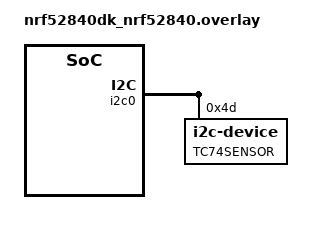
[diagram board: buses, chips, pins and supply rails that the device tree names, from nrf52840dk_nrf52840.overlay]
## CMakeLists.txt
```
cmake_minimum_required(VERSION 3.20.0)
find_package(Zephyr REQUIRED HINTS $ENV{ZEPHYR_BASE})


project(projeto2)

set(RTDB_FILES src/include/rtdb.h src/rtdb.c)
set(FIFO_FILES src/include/fifo.h src/fifo.c)
set(UART_FILES src/include/uart.h src/uart.c)
set(PROTOCOL_FILES src/include/protocol.h src/protocol.c)
# set(I2C_FILES src/include/i2c.h src/i2c.c)

target_sources(app PRIVATE src/main.c ${RTDB_FILES} ${FIFO_FILES} ${UART_FILES} ${PROTOCOL_FILES})
```

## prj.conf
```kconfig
CONFIG_GPIO=y
CONFIG_SERIAL=y
CONFIG_UART_CONSOLE=y
CONFIG_PRINTK=y
CONFIG_UART_ASYNC_API=y
CONFIG_I2C=y
CONFIG_HEAP_MEM_POOL_SIZE=1024
```

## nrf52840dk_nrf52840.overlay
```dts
// To get started, press Ctrl+Space to bring up the completion menu and view the available nodes.

// You can also use the buttons in the sidebar to perform actions on nodes.
// Actions currently available include:

// * Enabling / disabling the node
// * Adding the bus to a bus
// * Removing the node
// * Connecting ADC channels

// For more help, browse the DeviceTree documentation at https://docs.zephyrproject.org/latest/guides/dts/index.html
// You can also visit the nRF DeviceTree extension documentation at https://nrfconnect.github.io/vscode-nrf-connect/devicetree/nrfdevicetree.html
&i2c0 {
    tc74sensor: tc74sensor@4D{
        compatible = "i2c-device";
        reg = <  0x4D >;
        label = "TC74SENSOR";
        status = "okay";
    };
};
```

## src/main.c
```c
#include <zephyr/device.h>
#include <zephyr/devicetree.h>
#include <zephyr/drivers/gpio.h>
#include <zephyr/drivers/i2c.h> /* Required for  I2C */
#include <zephyr/kernel.h>
#include <zephyr/sys/printk.h>
#include <zephyr/sys_clock.h>

#include <zephyr/timing/timing.h>

#include "./include/fifo.h"
#include "./include/protocol.h"
#include "./include/rtdb.h"
#include "./include/uart.h"

#define STACKSIZE 1024
#define SYNC_PRIORITY 4
#define UART_PRIORITY 3
#define SAMPLING_PRIORITY 7
#define TASK1_PERIOD 1000
#define SLEEP_TIME_MS 1000
#define MAX_LEDS 4

/* Button setup */
#define SW0_NODE DT_ALIAS(sw0)
static const struct gpio_dt_spec button0 = GPIO_DT_SPEC_GET(SW0_NODE, gpios);
#define SW1_NODE DT_ALIAS(sw1)
static const struct gpio_dt_spec button1 = GPIO_DT_SPEC_GET(SW1_NODE, gpios);
#define SW2_NODE DT_ALIAS(sw2)
static const struct gpio_dt_spec button2 = GPIO_DT_SPEC_GET(SW2_NODE, gpios);
#define SW3_NODE DT_ALIAS(sw3)
static const struct gpio_dt_spec button3 = GPIO_DT_SPEC_GET(SW3_NODE, gpios);

/* LED configuration */
#define LED0_NODE DT_ALIAS(led0)
static const struct gpio_dt_spec led0 = GPIO_DT_SPEC_GET(LED0_NODE, gpios);
#define LED1_NODE DT_ALIAS(led1)
static const struct gpio_dt_spec led1 = GPIO_DT_SPEC_GET(LED1_NODE, gpios);
#define LED2_NODE DT_ALIAS(led2)
static const struct gpio_dt_spec led2 = GPIO_DT_SPEC_GET(LED2_NODE, gpios);
#define LED3_NODE DT_ALIAS(led3)
static const struct gpio_dt_spec led3 = GPIO_DT_SPEC_GET(LED3_NODE, gpios);
static const struct gpio_dt_spec leds_gpio[4] = {led0, led1, led2, led3};

#define TC74_ADDR 0x4d /* I2C slave address */

#define TC74_CMD_RTR 0x00  /* Read temperature command */
#define TC74_CMD_RWCR 0x01 /* Read/write configuration register */

/* I2C device vars and defines */
#define I2C0_NID DT_NODELABEL(tc74sensor)
static const struct i2c_dt_spec dev_i2c = I2C_DT_SPEC_GET(I2C0_NID);

// static struct k_thread_stack *Task1_stack_area;
K_THREAD_STACK_DEFINE(sync_io_thread_stack_area, STACKSIZE);
K_THREAD_STACK_DEFINE(temp_sampling_stack_area, STACKSIZE);
K_THREAD_STACK_DEFINE(process_messages_stack_area, STACKSIZE);

void callback_btn0(const struct device *dev, struct gpio_callback *cb,
                   gpio_port_pins_t pins);
void callback_btn1(const struct device *dev, struct gpio_callback *cb,
                   gpio_port_pins_t pins);
void callback_btn2(const struct device *dev, struct gpio_callback *cb,
                   gpio_port_pins_t pins);
void callback_btn3(const struct device *dev, struct gpio_callback *cb,
                   gpio_port_pins_t pins);
void sync_io_thread(void *, void *, void *);
int check_devices();
int leds_initialization();
int btns_initialization();
void read_temp_samples(void *, void *, void *);
void process_message(void *, void *, void *);

k_tid_t thds_ids[4];
struct k_thread thds[4];

int main(void) {
  int ret;

  if (check_devices() == 0) {
    printk("Devices not ready\n");
    return 1;
  }

  if (leds_initialization() != 0) {
    printk("leds not ready\n");
    return 1;
  }

  if (btns_initialization() != 0) {
    printk("bvtns not ready\n");
    return 1;
  }

  /* BUTTON 0 */
  if (gpio_pin_configure_dt(&button0, GPIO_INPUT) < 0) {
    return -1;
  }
  if (gpio_pin_interrupt_configure_dt(&button0, GPIO_INT_EDGE_TO_ACTIVE) < 0) {
    return -1;
  }
  struct gpio_callback gpio_callback_button0;
  gpio_init_callback(&gpio_callback_button0, callback_btn0, BIT(button0.pin));
  gpio_add_callback(button0.port, &gpio_callback_button0);

  /* BUTTON1 */
  if (gpio_pin_configure_dt(&button1, GPIO_INPUT) < 0) {
    return -1;
  }
  if (gpio_pin_interrupt_configure_dt(&button1, GPIO_INT_EDGE_TO_ACTIVE) < 0) {
    return -1;
  }
  struct gpio_callback gpio_callback_button1;
  gpio_init_callback(&gpio_callback_button1, callback_btn1, BIT(button1.pin));
  gpio_add_callback(button1.port, &gpio_callback_button1);

  /* BUTTON2 */
  if (gpio_pin_configure_dt(&button2, GPIO_INPUT) < 0) {
    return -1;
  }
  if (gpio_pin_interrupt_configure_dt(&button2, GPIO_INT_EDGE_TO_ACTIVE) < 0) {
    return -1;
  }
  struct gpio_callback gpio_callback_button2;
  gpio_init_callback(&gpio_callback_button2, callback_btn2, BIT(button2.pin));
  gpio_add_callback(button2.port, &gpio_callback_button2);

  /* BUTTON3 */
  if (gpio_pin_configure_dt(&button3, GPIO_INPUT) < 0) {
    return -1;
  }
  if (gpio_pin_interrupt_configure_dt(&button3, GPIO_INT_EDGE_TO_ACTIVE) < 0) {
    return -1;
  }
  struct gpio_callback gpio_callback_button3;
  gpio_init_callback(&gpio_callback_button3, callback_btn3, BIT(button3.pin));
  gpio_add_callback(button3.port, &gpio_callback_button3);

  if (!device_is_ready(dev_i2c.bus)) {
    printk("I2C bus %s is not ready!\n\r", dev_i2c.bus->name);
  } else {
    printk("I2C bus %s, device address %x ready\n\r", dev_i2c.bus->name,
           dev_i2c.addr);
  }
  /* Write (command RTR) to set the read address to temperature */
  /* Only necessary if a config done before (not the case), but let's stay in
   * the safe side */
  ret = i2c_write_dt(&dev_i2c, TC74_CMD_RTR, 1);
  if (ret != 0) {
    printk("Failed to write to I2C device at address %x, register %x \n\r",
           dev_i2c.addr, TC74_CMD_RTR);
  }
  uart_initialization();

  timing_init();
  timing_start();

  /* Create threads */
  thds_ids[0] = k_thread_create(
      &thds[0], sync_io_thread_stack_area,
      K_THREAD_STACK_SIZEOF(sync_io_thread_stack_area),
      sync_io_thread,   /* Pointer to code, i.e. the function name */
      NULL, NULL, NULL, /* Three optional arguments */
      SYNC_PRIORITY, 0, /* Thread options. Arch dependent */
      K_FOREVER);
  thds_ids[1] = k_thread_create(
      &thds[1], temp_sampling_stack_area,
      K_THREAD_STACK_SIZEOF(temp_sampling_stack_area),
      read_temp_samples,    /* Pointer to code, i.e. the function name */
      NULL, NULL, NULL,     /* Three optional arguments */
      SAMPLING_PRIORITY, 0, /* Thread options. Arch dependent */
      K_NO_WAIT);
  thds_ids[2] = k_thread_create(
      &thds[2], process_messages_stack_area,
      K_THREAD_STACK_SIZEOF(process_messages_stack_area),
      process_message,  /* Pointer to code, i.e. the function name */
      NULL, NULL, NULL, /* Three optional arguments */
      UART_PRIORITY, 0, /* Thread options. Arch dependent */
      K_FOREVER);
  k_thread_name_set(thds_ids[0], "Sync");
  k_thread_name_set(thds_ids[1], "Sample");
  k_thread_name_set(thds_ids[2], "Process");

  while (1) {
    for (int i = 0; i < 2; i++) {
      k_thread_join(&thds[i], K_MSEC(1000));
    }
  }

  return 0;
  printk("Died\n");
}

/* CHECK IF THE DEVICES ARE READY */
int check_devices() {
  return (device_is_ready(led0.port) && device_is_ready(led1.port) &&
          device_is_ready(led2.port) && device_is_ready(led3.port) &&
          device_is_ready(button0.port) && device_is_ready(button1.port) &&
          device_is_ready(button2.port) && device_is_ready(button3.port));
}

/* INITIALIZE LEDS */
int leds_initialization() {
  if (gpio_pin_configure_dt(&led0, GPIO_OUTPUT_ACTIVE) < 0) {
    return -1;
  }
  if (gpio_pin_configure_dt(&led1, GPIO_OUTPUT_ACTIVE) < 0) {
    return -1;
  }
  if (gpio_pin_configure_dt(&led2, GPIO_OUTPUT_ACTIVE) < 0) {
    return -1;
  }
  if (gpio_pin_configure_dt(&led3, GPIO_OUTPUT_ACTIVE) < 0) {
    return -1;
  }

  gpio_pin_set_dt(&led0, 0);
  gpio_pin_set_dt(&led1, 0);
  gpio_pin_set_dt(&led2, 0);
  gpio_pin_set_dt(&led3, 0);

  return 0;
}

/* INITIALIZE BUTTONS */
int btns_initialization() { return 0; }

/* BUTTON CALLBACKS */
void callback_btn0(const struct device *dev, struct gpio_callback *cb,
                   const gpio_port_pins_t pins) {
  toggle_btn(0);
}
void callback_btn1(const struct device *dev, struct gpio_callback *cb,
                   const gpio_port_pins_t pins) {
  toggle_btn(1);
}
void callback_btn2(const struct device *dev, struct gpio_callback *cb,
                   const gpio_port_pins_t pins) {
  toggle_btn(2);
}
void callback_btn3(const struct device *dev, struct gpio_callback *cb,
                   const gpio_port_pins_t pins) {
  toggle_btn(3);
}

void sync_io_thread(void *, void *, void *) {
  int leds_values[4] = {0, 0, 0, 0};
  int i = 0;
  timing_t start_time, end_time;
  uint64_t total_cycles;
  uint64_t total_ns;

  while (1) {
    start_time = timing_counter_get();
    get_leds(leds_values);
    for (i = 0; i < MAX_LEDS; i++) {
      gpio_pin_set_dt(&(leds_gpio[i]), leds_values[i]);
      // printk("Setting led %d -> %d\n", i, leds_values[i]);
    }

    end_time = timing_counter_get();

    total_cycles = timing_cycles_get(&start_time, &end_time);
    total_ns = timing_cycles_to_ns(total_cycles);
    printk("\n%s execution time %llu ns\n", "Sync", total_ns);

    k_msleep(1000);
  }
}

void read_temp_samples(void *, void *, void *) {
  signed char temp = 0; /* Temperature value (raw read from sensor)*/
  int ret;
  timing_t start_time, end_time;
  uint64_t total_cycles;
  uint64_t total_ns;
  while (1) {
    /* Read temperature register */
    start_time = timing_counter_get();
    ret = i2c_read_dt(&dev_i2c, &temp, sizeof(temp));
    if (ret != 0) {
      printk("Failed to read from I2C device at address %x, register  at Reg. "
             "%x %d --- %d\n\r",
             dev_i2c.addr, TC74_CMD_RTR, ret, -EIO);
      continue;
    }

    // printk("Last temperature reading is %c \n\r", temp);
    add_temp((int)temp);

    end_time = timing_counter_get();

    total_cycles = timing_cycles_get(&start_time, &end_time);
    total_ns = timing_cycles_to_ns(total_cycles);
    printk("\n%s execution time %llu ns\n", "Sample", total_ns);

    /* Pause  */
    k_msleep(SLEEP_TIME_MS);
  }
  timer_stop();
}

void process_message(void *, void *, void *) {

  struct FIFO *fifo = get_fifo();
  char msg_char[60];
  timing_t start_time, end_time;
  uint64_t total_cycles;
  uint64_t total_ns;


  while (1) {
    start_time = timing_counter_get();
    if (fifo_pop(fifo, &msg_char) != 0) {
      continue;
    } else {
      analyse_msg(msg_char);
    }

    end_time = timing_counter_get();

    total_cycles = timing_cycles_get(&start_time, &end_time);
    total_ns = timing_cycles_to_ns(total_cycles);
    printk("%s execution time %llu ns\n", "Process", total_ns);

    k_msleep(5000);
  }
}
```

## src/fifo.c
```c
#include "./include/fifo.h"
#include <stdlib.h>
#include <zephyr/kernel.h>
#include <zephyr/sys/printk.h>

struct FIFO *fifo_init() {
  struct FIFO *fifo = (struct FIFO *)k_malloc(sizeof(struct FIFO));
  if (fifo == NULL) {
    printk("Cannot allocate memory for FIFO\n");
    return NULL;
  }

  fifo->head = NULL;
  fifo->tail = NULL;
  return fifo;
}

bool _is_empty(struct FIFO *fifo) { return (fifo->head == NULL); }

void fifo_push(struct FIFO *fifo, char *data) {
  struct NODE *new_node = (struct NODE *)k_malloc(sizeof(struct NODE));
  if (new_node == NULL) {
    printk("Cannot allocate memory for NODE\n");
    return;
  }

  // Copy data to new node
  for (int i = 0; i < MAX_CHARS; i++) {
    new_node->data[i] = data[i];
  }

  // Set next pointer to NULL because the new node is the last node
  new_node->next = NULL;

  if (_is_empty(fifo)) {
    // If FIFO is empty, set head and tail to new node
    // because the new node is the only node in FIFO
    fifo->head = new_node;
    fifo->tail = new_node;
  } else {
    // If FIFO is not empty, set tail->next to new node
    // and set tail to new node
    fifo->tail->next = new_node;
    fifo->tail = new_node;
  }
  printk("Wrote a new node\n");
}

int fifo_pop(struct FIFO *fifo, char * data) {
  if (_is_empty(fifo)) {
    // printk("FIFO is empty\n");
    return 1;
  }
  // Allocate memory for data
  if (data == NULL) {
    printk("Data is an invalid pointer\n");
    return 1;
  }

  // Copy data from head node to data
  for (int i = 0; i < MAX_CHARS; i++) {
    data[i] = fifo->head->data[i];
  }

  struct NODE *temp = fifo->head;
  if (fifo->head == fifo->tail) {
    // If FIFO has only one node, set head and tail to NULL
    fifo->head = NULL;
    fifo->tail = NULL;
  } else {
    // If FIFO has more than one node, set head to head->next
    fifo->head = fifo->head->next;
  }

  // k_free memory of old head node
  k_free(temp);

  return 0;
}
```

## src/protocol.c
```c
/* This file has all the functions related to the protocol
 * All the messages are in the form of:
 * {sync_symbol}{tx_device_id}{command_id}{payload}{checksum}{end_symbol}
 *
 * sync_symbol: 1 byte (!)
 * tx_device_id: 1 byte (0-PC, 1-Nordic)
 * command_id: 1 byte
 * payload: 0-5 bytes
 * checksum: 3 bytes
 * end_symbol: 1 byte (#)
 *
 */

#include "./include/protocol.h"
#include "./include/fifo.h"
#include "./include/rtdb.h"
#include "./include/uart.h"

#include <stdio.h>
#include <stdlib.h>
#include <zephyr/kernel.h>
#include <zephyr/sys/printk.h>
#define RXBUF_SIZE 60 /* RX buffer size */

char valid_commands[14] = {'0', '1', '2', '3', '4', '5', '6',
                           '7', 'A', 'B', 'C', 'D', 'E', 'Z'};
int payload_sizes[14] = {2, 4, 0, 0, 0, 0, 0, 0, 4, 4, 3, 3, 3, 2};

// Check if the message is valid
int msg_is_valid(char *msg) {
  // Check if the command ID is valid
  bool valid_command = false;
  for (int i = 0; i < 14; i++) {
    if (msg[2] == valid_commands[i]) {
      valid_command = true;
      break;
    }
  }

  if (!valid_command) {
    return 2;
  }

  // Get the size of the message
  int msg_size = 0;
  for (msg_size = 0; msg[msg_size] != '\0'; msg_size++)
    ;

  // Check if the message is in the form of
  // {sync_symbol}{tx_device_id}{command_id}{payload}{checksum}{end_symbol}
  // and if the payload is valid
  if (msg[0] != SYNC_SYMBOL || msg[msg_size - 1] != END_SYMBOL ||
      !payload_is_valid(msg, msg_size)) {
    return 4;
  }

  // Get the checksum from the message
  char checksum[3];
  checksum[0] = msg[msg_size - 4];
  checksum[1] = msg[msg_size - 3];
  checksum[2] = msg[msg_size - 2];

  // Get the message without the checksum
  char msg_without_checksum[msg_size - 4];
  for (int i = 0; i < msg_size - 4; i++) {
    msg_without_checksum[i] = msg[i];
  }

  // Check if the checksum is correct
  if (atoi(checksum) !=
      calculate_checksum(msg_without_checksum, msg_size - 4)) {
    return 3;
  }

  return 1;
}

// Calculate the checksum of the message (without the checksum)
int calculate_checksum(char *msg, int msg_size) {
  int checksum = 0;
  for (int i = 1; i < msg_size; i++) {
    checksum += msg[i];
  }
  return checksum % 1000; // only the 3 most significant digits are used
}

char *get_payload(char *msg) {
  int msg_size = 0;
  for (msg_size = 0; msg[msg_size] != '\0'; msg_size++)
    ;

  char *payload = (char *)k_malloc(msg_size - (3 + 4));
  for (int i = 3, j = 0; i < msg_size - 4; i++, j++) {
    payload[j] = msg[i];
  }

  return payload;
}

int get_ack_msg(char *msg, uint8_t *answer, char *valid_message) {
  // ACK message example: !1Z01236#
  // Format:
  // {sync_symbol}{tx_device_id}{command_id}{payload}{checksum}{end_symbol}
  // Payload: {command_id_received}{error_code}
  // Size: 1+1+1+2+3+1 = 9
  int error_code = -1;
  int end_symbol_idx = -1, sync_symbol_idx = -1;
  for (int i = RXBUF_SIZE; i >= 0; i--) {
    if (msg[i] == END_SYMBOL) {
      end_symbol_idx = i;
    }
    if (msg[i] == SYNC_SYMBOL && end_symbol_idx >= 0) {
      sync_symbol_idx = i;
      break;
    }
  }
  if (end_symbol_idx == -1 || sync_symbol_idx == -1 ||
      (sync_symbol_idx > end_symbol_idx)) {
    error_code = 4; // invalid frame structure
  }

  int j = 0;
  for (int i = sync_symbol_idx; i <= end_symbol_idx; i++) {
    valid_message[j] = msg[i];
    j++;
  }
  valid_message[j] = '\0';
  /* Get the error code */
  if (error_code != 4) {
    error_code = msg_is_valid(valid_message);
  }

  char payload[3] = {msg[2], error_code + '0', '\0'};

  /* Get the checksum */
  int checksum = calculate_checksum(payload, 2);

  sprintf(answer, "%c%c%c%s%d%c", SYNC_SYMBOL, UC, 'Z', payload, checksum,
          END_SYMBOL);
  return error_code;
}

// Check if the payload is valid
bool payload_is_valid(char *msg, int msg_size) {
  // payload_size = msg_size - (3 + 4)
  // 3 bytes for the {sync_symbol}{tx_device_id}{command_id}
  // 4 bytes for the {checksum}{end_symbol}

  // Check if the payload has the right length
  char command_id = msg[2];
  int payload_size = 0;
  printk("msg_size:    %d\n", msg_size);
  for (int i = 0; i < 14; i++) {
    if (command_id == valid_commands[i]) {
      payload_size = payload_sizes[i];
      break;
    }
  }

  return (msg_size - (3 + 4) == payload_size);
}

void analyse_msg(char *msg) {
  // We know that the message is valid
  // Get the command ID
  char command_id = msg[2];
  printk("\nCommand: |%c|\n", msg[2]);
  // 0 - Set the value of one of the digital outputs (Leds)
  // 1 - Set the value of all the digital outputs (atomic operation)
  // 2 - Read the value of the digital inputs
  // 3 - Read the value of the digital outputs
  // 4 - Read the last value of temperature
  // 5 - Read the last 20 values of temperature
  // 6 - Read the max and min temperature
  // 7 - Reset the temperature history (including max and min)
  // A - Digital inputs values (answer to cmd ‘2’)
  // B - Digital output values (answer to cmd ‘3’)
  // C - Last temperature value (answer to cmd ‘4’)
  // D - Last 20 temperature values (answer to cmd ‘5’)
  // E - Maximum and minimum temperature (answer to cmd ‘6’)

  // Since we are using the Nordic as the transmitter, we only need to handle
  // the commands that are sent from the PC to the Nordic (0-7). The other
  // commands are handled by the PC.

  switch (command_id) {
  case '0':
    printk("set_digital_output(msg)\n");
    set_digital_output(msg);
    printk("set_digital_output(msg)\n");
    break;
  case '1':
    printk("set_all_digital_outputs(msg)\n");
    set_all_digital_outputs(msg);
    printk("set_all_digital_outputs(msg)\n");
    break;
  case '2':
    read_digital_inputs(); // empty payload
    printk("read_digital_inputs(msg)\n");
    break;
  case '3':
    read_digital_outputs(); // empty payload
    printk("read_digital_outputs(msg)\n");
    break;
  case '4':
    read_last_temperature(); // empty payload
    printk("read_last_temperature(msg)\n");
    break;
  case '5':
    read_all_last_temperatures(); // empty payload
    break;
  case '6':
    read_min_max_temp(); // empty payload
    break;
  case '7':
    reset_temps();
    break;
  }
}

void set_digital_output(char *msg) {
  // Get the payload from the message
  printk("msg: --- %s\n", msg);
  char *payload = get_payload(msg);

  // Payload: ‘1’...’4’ (Led #, 1 byte) + {‘0’,’1’} (On/Off, one byte)

  // Get the pin number
  int pin_number = payload[0] - 48 - 1;

  // Get the pin value
  int pin_value = payload[1] - 48;
  printk("Pin number %d, pin val %d\n", pin_number, pin_value);
  // Set the pin value
  // TODO: toggle the pin value

  // Change the led value in the rtdb
  set_led(pin_number, pin_value);
}

void set_all_digital_outputs(char *msg) {
  // Get the payload from the message
  printk("1\n");
  char *payload = get_payload(msg);
  // Payload: {‘0’,’1’}+{‘0’,’1’}+{‘0’,’1’}+{‘0’,’1’} (On/Off, one byte, Led 1
  // to Led 4, left to right)
  printk("122\n");
  int leds[4];
  // Set the pin values
  for (int i = 0; i < 4; i++) {
    printk("Payloda int %d\n", (unsigned int)payload[i]);
    leds[i] = payload[i] - 48 == 0 ? 0 : 1;
  }
  set_leds(&leds);
}

void read_digital_inputs() {
  // Payload: {‘0’,’1’}+{‘0’,’1’}+{‘0’,’1’}+{‘0’,’1’} (On/Off, one byte, But 1
  // to But 4, left to right) Example: ‘0001’ means that only button 4 is
  // pressed FullMessage: ‘!0A0001{checksum}#’

  // Get values of the digital inputs from the rtdb
  int digital_inputs[4];
  get_btns(&digital_inputs);

  // Create payload
  char payload[] = {(char)digital_inputs[0] + 48, (char)digital_inputs[1] + 48,
                    (char)digital_inputs[2] + 48, (char)digital_inputs[3] + 48,
                    '\0'};

  // Get the checksum
  int checksum = calculate_checksum(payload, 4);

  // Send the values of the digital inputs to the PC
  uint8_t rep_mesg[TXBUF_SIZE];
  // {sync_symbol}{tx_device_id}{command_id}{payload}{checksum}{end_symbol}
  // size = 1 + 1 + 1 + 4 + 3 + 1 = 11
  sprintf(rep_mesg, "%c%c%c%s%d%c", SYNC_SYMBOL, UC, 'A', payload, checksum,
          END_SYMBOL);
  printf("%c%c%c%s%d%c\n", SYNC_SYMBOL, UC, 'A', payload, checksum, END_SYMBOL);
  if (uart_send_data(rep_mesg) != 0) {
    printk("Error sending message\n\r");
  }
}

void read_digital_outputs() {
  // Payload: {‘0’,’1’}+{‘0’,’1’}+{‘0’,’1’}+{‘0’,’1’} (On/Off, one byte, Led 1
  // to Led 4, left to right) Example: ‘0001’ means that only Led 4 is on
  // FullMessage: ‘!0B0001{checksum}#’

  // Get values of the digital outputs from the rtdb
  int digital_outputs[4];
  get_leds(digital_outputs);

  // Create payload
  char payload[] = {digital_outputs[0] + '0', digital_outputs[1] + '0',
                    digital_outputs[2] + '0', digital_outputs[3] + '0', '\0'};

  // Get the checksum
  int checksum = calculate_checksum(payload, 4);

  // Send the values of the digital outputs to the PC
  uint8_t rep_mesg[TXBUF_SIZE];
  // {sync_symbol}{tx_device_id}{command_id}{payload}{checksum}{end_symbol}
  // size = 1 + 1 + 1 + 4 + 3 + 1 = 11
  sprintf(rep_mesg, "%c%c%c%s%d%c", SYNC_SYMBOL, UC, 'B', payload, checksum,
          END_SYMBOL);
  printk("| %c%c%c%s%d%c\n", SYNC_SYMBOL, UC, 'B', payload, checksum,
         END_SYMBOL);
  if (uart_send_data(rep_mesg) != 0) {
    printk("Error sending message\n\r");
  }
}

void send_temp_message(int temp, char command_id) {
  // Payload: {‘+’,’-’} + {‘0’...’9’} + {‘0’...’9’} (i.e. signal followed by
  // temperature, integer with two digits) Example: ‘+023’ means that the
  // temperature is +23 degrees FullMessage: ‘!0C+023{checksum}#’

  // Create payload
  char payload[4];

  // Get the signal
  if (temp >= 0) {
    payload[0] = '+';
  } else {
    payload[0] = '-';
  }

  // Get the temperature
  int temperature = (int)temp;
  payload[1] = (temperature / 10) + '0';
  payload[2] = (temperature % 10) + '0';
  payload[3] = '\0';
  // Get the checksum
  int checksum = calculate_checksum(payload, 3);

  // Send the last temperature to the PC
  uint8_t rep_mesg[TXBUF_SIZE];
  // {sync_symbol}{tx_device_id}{command_id}{payload}{checksum}{end_symbol}
  // size = 1 + 1 + 1 + 3 + 3 + 1 = 10
  sprintf(rep_mesg, "%c%c%c%s%d%c", SYNC_SYMBOL, UC, command_id, payload,
          checksum, END_SYMBOL);
  printk("Temperature: %c%c%c%s%d%c\n", SYNC_SYMBOL, UC, command_id, payload,
         checksum, END_SYMBOL);
  if (uart_send_data(rep_mesg) != 0) {
    printk("Error sending message\n\r");
  }
}

void read_last_temperature() {
  // Get the last temperature from the rtdb
  int last_temperature;
  get_last_temp(&last_temperature);

  send_temp_message(last_temperature, 'C');
}

void temp_to_string(int temperature, int offset, char *payload) {
  // Get the signal
  if (temperature >= 0) {
    payload[offset + 0] = '+';
  } else {
    payload[offset + 0] = '-';
  }

  // Get the temperature
  payload[offset + 1] = (temperature / 10) + '0';
  payload[offset + 2] = (temperature % 10) + '0';
}

void read_all_last_temperatures() {
  int last_temperatures[20];
  int n_temps = get_temps(last_temperatures);
  char *payload =
      (char *)k_malloc(3 * sizeof(char) * n_temps +
                       sizeof(char)); // allocate enough characters to represent
  // n_temps in 3 characters : {‘+’,’-’} +
  // {‘0’...’9’} + {‘0’...’9’} + 1 for '\0'
  if (payload == NULL) {
    return;
  }
  for (int i = 0; i < n_temps; i++) {
    temp_to_string(last_temperatures[i], i * 3, payload);
  }

  payload[3 * sizeof(char) * n_temps] = '\0'; // ends the string
  int checksum =
      calculate_checksum(payload, 3 * sizeof(char) * n_temps + sizeof(char));
  uint8_t rep_mesg[TXBUF_SIZE];

  sprintf(rep_mesg, "%c%c%c%s%d%c", SYNC_SYMBOL, UC, 'D', payload, checksum,
          END_SYMBOL);
  printk("Temperature: %c%c%c%s%d%c\n", SYNC_SYMBOL, UC, 'D', payload, checksum,
         END_SYMBOL);
  if (uart_send_data(rep_mesg) != 0) {
    printk("Error sending message\n\r");
  }
}

void read_min_max_temp() {
  uint8_t max_temperature;
  get_max_temp(&max_temperature);
  uint8_t min_temperature;
  get_min_temp(&min_temperature);
  char *payload =
      (char *)k_malloc(3 * sizeof(char) * 2 +
                       sizeof(char)); // allocate enough characters to represent
  // n_temps in 3 characters : {‘+’,’-’} +
  // {‘0’...’9’} + {‘0’...’9’} + 1 for '\0'
  if (payload == NULL) {
    return;
  }
  temp_to_string(max_temperature, 0 * 3, payload);
  temp_to_string(min_temperature, 1 * 3, payload);

  payload[3 * sizeof(char) * 2] = '\0'; // ends the string
  int checksum =
      calculate_checksum(payload, 3 * sizeof(char) * 2 + sizeof(char));
  uint8_t rep_mesg[TXBUF_SIZE];

  sprintf(rep_mesg, "%c%c%c%s%d%c", SYNC_SYMBOL, UC, 'E', payload, checksum,
          END_SYMBOL);
  printk("Temperature: %c%c%c%s%d%c\n", SYNC_SYMBOL, UC, 'E', payload, checksum,
         END_SYMBOL);
  if (uart_send_data(rep_mesg) != 0) {
    printk("Error sending message\n\r");
  }
}
```

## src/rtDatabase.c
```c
#include "./include/rtDatabase.h"
#include <locale.h>
#include <pthread.h>
#include <stdbool.h>
#include <stdio.h>
#include <stdlib.h>
#include <string.h>

#define EXIT_FAILURE 1
#define EXIT_SUCCESS 0

/** \brief flag which warrants that the data transfer region is initialized
 * exactly once */
static pthread_once_t init = PTHREAD_ONCE_INIT;

/** \brief locking flag which warrants mutual exclusion inside the monitor */
static pthread_mutex_t accessCR = PTHREAD_MUTEX_INITIALIZER;

/**
 *  \brief Initialization of the data transfer region.
 *  Internal monitor operation.
 */

static int btns[4];
static int leds[4];
static double temps[20];
static int i;
static int idx;
static double min_temp;
static double max_temp;
static int temps_saved;

static void rtdb_initialization(void) {
  // set initial values for each array
  for (i = 0; i < 4; i++) {
    leds[i] = 0;
    btns[i] = 0;
  }
  for (i = 0; i < 20; i++) {
    temps[i] = 0;
  }
  i = 0;
  idx = 0;
  min_temp = 0.0f;
  max_temp = 0.0f;
  temps_saved = 0;
}

int open_rtdb(const char *name) {
  if ((pthread_mutex_lock(&accessCR)) != 0) { /* enter monitor */
    perror("error on entering monitor(CF)");  /* save error in errno */
    int status = EXIT_FAILURE;
    pthread_exit(&status);
  }
  // initialize data structures
  pthread_once(&init, rtdb_initialization);

  if ((pthread_mutex_unlock(&accessCR)) != 0) { /* exit monitor */
    perror("error on exiting monitor(CF)");     /* save error in errno */
    int status = EXIT_FAILURE;
    pthread_exit(&status);
  }

  return EXIT_SUCCESS;
}

int set_btn(int btn, int val) {
  if ((pthread_mutex_lock(&accessCR)) != 0) { /* enter monitor */
    perror("error on entering monitor(CF)");  /* save error in errno */
    int status = EXIT_FAILURE;
    pthread_exit(&status);
  }

  btns[btn] = val;

  if ((pthread_mutex_unlock(&accessCR)) != 0) { /* exit monitor */
    perror("error on exiting monitor(CF)");     /* save error in errno */
    int status = EXIT_FAILURE;
    pthread_exit(&status);
  }
}

int toggle_btn(int btn) {
  if ((pthread_mutex_lock(&accessCR)) != 0) { /* enter monitor */
    perror("error on entering monitor(CF)");  /* save error in errno */
    int status = EXIT_FAILURE;
    pthread_exit(&status);
  }

  btns[btn] = !btns[btn];

  if ((pthread_mutex_unlock(&accessCR)) != 0) { /* exit monitor */
    perror("error on exiting monitor(CF)");     /* save error in errno */
    int status = EXIT_FAILURE;
    pthread_exit(&status);
  }
}


int set_led(int led, int val) {
  if ((pthread_mutex_lock(&accessCR)) != 0) { /* enter monitor */
    perror("error on entering monitor(CF)");  /* save error in errno */
    int status = EXIT_FAILURE;
    pthread_exit(&status);
  }

  leds[led] = val;

  if ((pthread_mutex_unlock(&accessCR)) != 0) { /* exit monitor */
    perror("error on exiting monitor(CF)");     /* save error in errno */
    int status = EXIT_FAILURE;
    pthread_exit(&status);
  }
}

int set_btns(const int *b) {
  if ((pthread_mutex_lock(&accessCR)) != 0) {
    perror("error on entering monitor(CF)");
    int status = EXIT_FAILURE;
    pthread_exit(&status);
  }

  for (i = 0; i < 4; i++) {
    btns[i] = b[i];
  }

  if ((pthread_mutex_unlock(&accessCR)) != 0) { /* exit monitor */
    perror("error on exiting monitor(CF)");     /* save error in errno */
    int status = EXIT_FAILURE;
    pthread_exit(&status);
  }
}
int set_leds(const int *l) {
  if ((pthread_mutex_lock(&accessCR)) != 0) {
    perror("error on entering monitor(CF)");
    int status = EXIT_FAILURE;
    pthread_exit(&status);
  }
  for (i = 0; i < 4; i++) {
    leds[i] = l[i];
  }

  if ((pthread_mutex_unlock(&accessCR)) != 0) { /* exit monitor */
    perror("error on exiting monitor(CF)");     /* save error in errno */
    int status = EXIT_FAILURE;
    pthread_exit(&status);
  }
}

int get_led(int led) {
  if ((pthread_mutex_lock(&accessCR)) != 0) { /* enter monitor */
    perror("error on entering monitor(CF)");  /* save error in errno */
    int status = EXIT_FAILURE;
    pthread_exit(&status);
  }
  int val = leds[led];
  if ((pthread_mutex_unlock(&accessCR)) != 0) { /* exit monitor */
    perror("error on exiting monitor(CF)");     /* save error in errno */
    int status = EXIT_FAILURE;
    pthread_exit(&status);
  }

  return val;
}

int get_btn(int btn) {
  if ((pthread_mutex_lock(&accessCR)) != 0) { /* enter monitor */
    perror("error on entering monitor(CF)");  /* save error in errno */
    int status = EXIT_FAILURE;
    pthread_exit(&status);
  }
  int val = btns[btn];
  if ((pthread_mutex_unlock(&accessCR)) != 0) { /* exit monitor */
    perror("error on exiting monitor(CF)");     /* save error in errno */
    int status = EXIT_FAILURE;
    pthread_exit(&status);
  }

  return val;
}

void get_leds(int * l){
    if ((pthread_mutex_lock(&accessCR)) != 0) { /* enter monitor */
    perror("error on entering monitor(CF)");  /* save error in errno */
    int status = EXIT_FAILURE;
    pthread_exit(&status);
  }


  for(i = 0; i < 4; i++){
    l[i] = leds[i];
  }

  if ((pthread_mutex_unlock(&accessCR)) != 0) { /* exit monitor */
    perror("error on exiting monitor(CF)");     /* save error in errno */
    int status = EXIT_FAILURE;
    pthread_exit(&status);
  }
}
void get_btns(int * b){
  if ((pthread_mutex_lock(&accessCR)) != 0) { /* enter monitor */
    perror("error on entering monitor(CF)");  /* save error in errno */
    int status = EXIT_FAILURE;
    pthread_exit(&status);
  }

  for(i = 0; i < 4; i++){
    b[i] = btns[i];
  }

  if ((pthread_mutex_unlock(&accessCR)) != 0) { /* exit monitor */
    perror("error on exiting monitor(CF)");     /* save error in errno */
    int status = EXIT_FAILURE;
    pthread_exit(&status);
  }
}


int add_temp(double temp) {
  if ((pthread_mutex_lock(&accessCR)) != 0) { /* enter monitor */
    perror("error on entering monitor(CF)");  /* save error in errno */
    int status = EXIT_FAILURE;
    pthread_exit(&status);
  }
  temps[idx] = temp;
  idx = (idx + 1) % 20;

  for (i = 0; i < temps_saved; i++) {
    if (min_temp > temps[i]) {
      min_temp = temps[i];
    }
    if (max_temp < temps[i]) {
      max_temp = temps[i];
    }
  }

  if (temps_saved == 0) {
    min_temp = temp;
    max_temp = temp;
  }

  temps_saved++;

  if ((pthread_mutex_unlock(&accessCR)) != 0) { /* exit monitor */
    perror("error on exiting monitor(CF)");     /* save error in errno */
    int status = EXIT_FAILURE;
    pthread_exit(&status);
  }
}
/*
 * return the number of valiid temperatures that were copied to the input
 * parameter temps
 */
int get_temps(double *t) {
  if ((pthread_mutex_lock(&accessCR)) != 0) { /* enter monitor */
    perror("error on entering monitor(CF)");  /* save error in errno */
    int status = EXIT_FAILURE;
    pthread_exit(&status);
  }
  int temps_returned = temps_saved;
  for (i = 0; i < temps_returned; i++) {
    t[i] = temps[i];
  }
  if ((pthread_mutex_unlock(&accessCR)) != 0) { /* exit monitor */
    perror("error on exiting monitor(CF)");     /* save error in errno */
    int status = EXIT_FAILURE;
    pthread_exit(&status);
  }

  return temps_returned;
}

int reset_temps() {
  if ((pthread_mutex_lock(&accessCR)) != 0) { /* enter monitor */
    perror("error on entering monitor(CF)");  /* save error in errno */
    int status = EXIT_FAILURE;
    pthread_exit(&status);
  }

  temps_saved = 0;
  min_temp = 0.0f;
  max_temp = 0.0f;
  idx = 0;

  if ((pthread_mutex_unlock(&accessCR)) != 0) { /* exit monitor */
    perror("error on exiting monitor(CF)");     /* save error in errno */
    int status = EXIT_FAILURE;
    pthread_exit(&status);
  }
}

int closeDb(void) { return EXIT_SUCCESS; }
```

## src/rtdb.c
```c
#include "./include/rtdb.h"

#include <zephyr/kernel.h>

#define EXIT_FAILURE 1
#define EXIT_SUCCESS 0

/** \brief locking flag which warrants mutual exclusion inside the monitor */
K_MUTEX_DEFINE(accessCR);

/**
 *  \brief Initialization of the data transfer region.
 *  Internal monitor operation.
 */

static int btns[4];
static int leds[4];
static int temps[20];
static int i;
static int idx;
static int min_temp;
static int max_temp;
static int temps_saved;

void rtdb_initialization(void) {
  // set initial values for each array
  for (i = 0; i < 4; i++) {
    leds[i] = 0;
    btns[i] = 0;
  }
  for (i = 0; i < 20; i++) {
    temps[i] = 0;
  }
  i = 0;
  idx = 0;
  min_temp = 0;
  max_temp = 0;
  temps_saved = 0;
}

int open_rtdb(const char *name) {

  k_mutex_lock(&accessCR, K_FOREVER);

  // initialize data structures
  rtdb_initialization();

  k_mutex_unlock(&accessCR);

  return EXIT_SUCCESS;
}

void set_btn(int btn, int val) {
  k_mutex_lock(&accessCR, K_FOREVER);

  btns[btn] = val;

  k_mutex_unlock(&accessCR);
}

void toggle_btn(int btn) {
  k_mutex_lock(&accessCR, K_FOREVER);

  btns[btn] = !btns[btn];

  k_mutex_unlock(&accessCR);
}

void set_led(int led, int val) {
  k_mutex_lock(&accessCR, K_FOREVER);

  leds[led] = val;

  k_mutex_unlock(&accessCR);
}

void set_btns(const int *b) {
  k_mutex_lock(&accessCR, K_FOREVER);

  for (i = 0; i < 4; i++) {
    btns[i] = b[i];
  }

  k_mutex_unlock(&accessCR);
}

void set_leds(const int *l) {
  k_mutex_lock(&accessCR, K_FOREVER);

  for (i = 0; i < 4; i++) {
    leds[i] = l[i];
  }

  k_mutex_unlock(&accessCR);
}

int get_led(int led) {
  k_mutex_lock(&accessCR, K_FOREVER);
  int val = leds[led];
  k_mutex_unlock(&accessCR);
  return val;
}

int get_btn(int btn) {
  k_mutex_lock(&accessCR, K_FOREVER);
  int val = btns[btn];
  k_mutex_unlock(&accessCR);
  return val;
}

void get_leds(int *l) {
  k_mutex_lock(&accessCR, K_FOREVER);

  for (i = 0; i < 4; i++) {
    l[i] = leds[i];
  }

  k_mutex_unlock(&accessCR);
}

void get_btns(int *b) {
  k_mutex_lock(&accessCR, K_FOREVER);

  for (i = 0; i < 4; i++) {
    b[i] = btns[i];
  }

  k_mutex_unlock(&accessCR);
}

void add_temp(int temp) {
  k_mutex_lock(&accessCR, K_FOREVER);
  temps[idx] = temp;
  idx = (idx + 1) % 20;

  if (temps_saved == 0) {
    min_temp = temp;
    max_temp = temp;
  }
  if(temp < min_temp){
    min_temp = temp;
  }
  if (temp > max_temp){
    max_temp = temp;
  }

  temps_saved++;
  if (temps_saved >= 20){
    temps_saved = 20;
  }

  k_mutex_unlock(&accessCR);
}

/*
 * return the number of valiid temperatures that were copied to the input
 * parameter temps
 */
int get_temps(int *t) {
  k_mutex_lock(&accessCR, K_FOREVER);
  // int temps_returned = temps_saved;
  // for (i = 0; i < temps_returned; i++) {
  //   t[i] = temps[i];
  // }

  int index = idx;
  int temps_returned = temps_saved;
  for (i = 0; i < temps_returned; i++) {
    t[i] = temps[(20 + index) % 20];
    index--;
  }

  k_mutex_unlock(&accessCR);
  return temps_returned;
}

void get_last_temp(int *t) {
  k_mutex_lock(&accessCR, K_FOREVER);

  if (temps_saved == 0) {
    *t = 0.0f;
  } else if (idx == 0) {
    *t = temps[19];
  } else {
    *t = temps[idx - 1];
  }

  k_mutex_unlock(&accessCR);
}

void get_max_temp(int *t) {
  k_mutex_lock(&accessCR, K_FOREVER);

  *t = max_temp;

  k_mutex_unlock(&accessCR);
}

void get_min_temp(int *t) {
  k_mutex_lock(&accessCR, K_FOREVER);

  *t = min_temp;

  k_mutex_unlock(&accessCR);
}

void reset_temps() {
  k_mutex_lock(&accessCR, K_FOREVER);

  temps_saved = 0;
  min_temp = 0.0;
  max_temp = 0.0;
  idx = 0;

  k_mutex_unlock(&accessCR);
}

int closeDb(void) { return EXIT_SUCCESS; }
```

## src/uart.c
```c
#include "./include/uart.h"
#include "./include/protocol.h"

#include <zephyr/sys/printk.h>
#include <stdio.h>
#include <string.h>

#define UART_NODE DT_NODELABEL(uart0)   /* UART0 node ID*/

#define FATAL_ERR -1 /* Fatal error return code, app terminates */
#define OK 0         /* OK return code */

#define EXIT_FAILURE 1
#define EXIT_SUCCESS 0


/* Struct for UART configuration (if using default values is not needed) */
const struct uart_config uart_cfg = {
    .baudrate = 115200,
    .parity = UART_CFG_PARITY_NONE,
    .stop_bits = UART_CFG_STOP_BITS_1,
    .data_bits = UART_CFG_DATA_BITS_8,
    .flow_ctrl = UART_CFG_FLOW_CTRL_NONE
};

/* UART related variables */
const struct device *uart_dev = DEVICE_DT_GET(UART_NODE);
static uint8_t rx_buf[RXBUF_SIZE];      /* RX buffer, to store received data */
volatile int uart_rxbuf_nchar=0;        /* Number of chars currently on the rx buffer */

struct FIFO* fifo;

int uart_initialization(void) {
    /* Configure UART device */
    if (!uart_dev) {
        printk("UART device not found\n");
        return FATAL_ERR;
    }

    if (!device_is_ready(uart_dev)) {
        printk("UART device not ready\n");
        return FATAL_ERR;
    }

    if (uart_configure(uart_dev, &uart_cfg) != 0) {
        printk("Cannot configure UART device\n");
        return FATAL_ERR;
    }

    /* Configure UART rx timeout */
    if (uart_rx_enable(uart_dev, rx_buf, sizeof(rx_buf), RX_TIMEOUT) != 0) {
        printk("Cannot configure UART rx\n");
        return FATAL_ERR;
    }

    /* Configure UART rx callback */
    if (uart_callback_set(uart_dev, uart_rx_callback, NULL)) {
        printk("Cannot configure UART rx callback\n");
        return FATAL_ERR;
    }

    /* Initialize FIFO */
    fifo = fifo_init();
    if (fifo == NULL) {
        printk("Cannot initialize FIFO\n");
        return FATAL_ERR;
    }

    return OK;
}

void uart_rx_callback(const struct device *dev, struct uart_event *evt, void *user_data) {
    char rx_chars[RXBUF_SIZE];    /* Received message */
    int err, err_code;
    int msg_size = 0;
    char valid_message[60];
    switch (evt->type) {

        case UART_TX_DONE:
            printk("\nUART_TX_DONE event \n\r");
            break;

        case UART_TX_ABORTED:
            break;

        case UART_RX_RDY:

            /* Check if the message fits in the fifo */
            if (evt->data.rx.len >= RXBUF_SIZE) {
                printk("UART Buffer is full \n\r");
            }
            else {
                /*
                    RX timeout occurred and data is available:
                    0. send reception confirmation
                    1. cast message from uint8_t to char
                    2. copy the data to the FIFO
                    3. analyse the message (this will run in a separate thread)
                        3.1 if the message is a command, execute it (e.g. toggle led)
                        3.2 if the message is a request, send the response (e.g. send the value of a sensor)
                */

                /* Convert the message from uint8_t to char */
                memcpy(
                    rx_chars,
                    &(rx_buf[evt->data.rx.offset]),
                    evt->data.rx.len
                );

                /* Get reception confirmation */
                uint8_t rep_mesg[TXBUF_SIZE]; 
                err_code = get_ack_msg(rx_chars, rep_mesg, &valid_message);
                if(err_code == -1) // no valid message was found
                {
                    break;
                }
                rx_chars[RXBUF_SIZE-1] = '\0';
                /* Send reception confirmation */
                err = uart_tx(uart_dev, rep_mesg, sizeof(rep_mesg), SYS_FOREVER_MS);
                if (err) {
                    printk("uart_tx() error. Error code:%d\n\r",err);
                }

                /* Copy the received data to the FIFO */
                if (err_code == 1) {
                    fifo_push(fifo, valid_message);
                }
                uart_rxbuf_nchar++;
            }
            break;

        case UART_RX_BUF_REQUEST:
            break;

        case UART_RX_BUF_RELEASED:
            break;
        
        case UART_RX_DISABLED:
            printk("UART_RX_DISABLED event \n\r");

            /* Reset the rx buffer */
		    err =  uart_rx_enable(
                uart_dev ,
                rx_buf,
                sizeof(rx_buf),
                RX_TIMEOUT
            );
            if (err) {
                printk("uart_rx_enable() error. Error code:%d\n\r",err);
            }

            break;

        case UART_RX_STOPPED:
            break;

        default:
            break;
    }
}

int uart_send_data(uint8_t *data) {
    int err = uart_tx(uart_dev, data, sizeof(data), SYS_FOREVER_MS);
    if (err) {
        printk("uart_tx() error. Error code:%d\n\r",err);
        return FATAL_ERR;
    }
    return OK;
}

struct FIFO *get_fifo(void) {
    return fifo;
}
```
